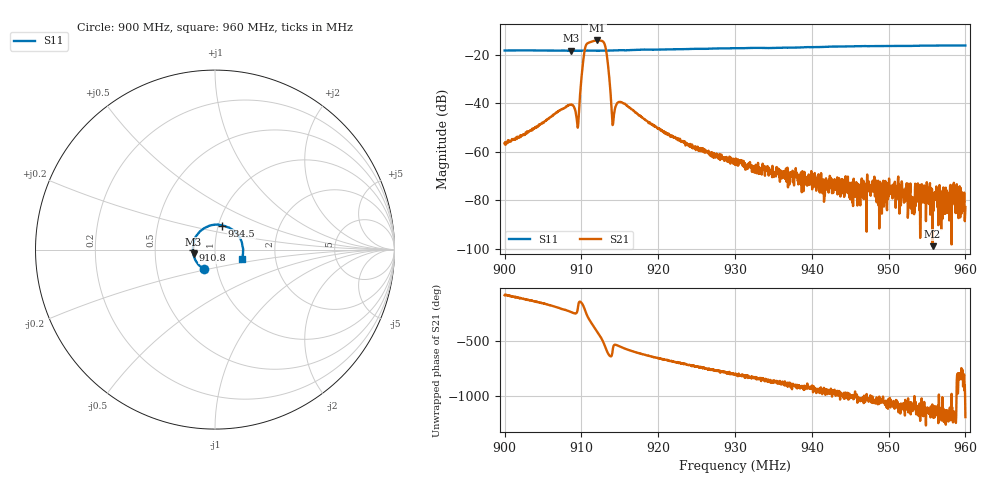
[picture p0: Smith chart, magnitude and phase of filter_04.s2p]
!Agilent Technologies,E5071C,MY46214392,A.11.36
!Date: Thu Feb 26 21:17:01 2026
!Data & Calibration Information:
!Freq	S11:NONE(--)	S21:NONE(--)	S12:NONE(--)	S22:NONE(--)
!PortZ  Port1:50+j0  Port2:50+j0
!Above PortZ is port z conversion or system Z0 setting when saving the data.
!When reading, reference impedance value at option line is always used.
# Hz S dB R 50
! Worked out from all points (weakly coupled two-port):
!   1601 points, 900 MHz to 960 MHz, reference 50 ohm
!   highest |S21| = -13.97 dB at 912.1 MHz (marker M1); lowest = -98.9 dB at 955.7 MHz (marker M2)
!   lowest |S11| = -18.2 dB at 908.7 MHz (marker M3), VSWR 1.28, Z = 39.3 - j2.12 ohm
!   |S11| at or under -10 dB: start of sweep to end of sweep
!   S12 and S22 are empty: the file has one direction only
!   S11 on the Smith chart (normalised r, x): 900 MHz: 0.86, -0.19; 910.8 MHz: 0.78, -0.01; 934.5 MHz: 1.04, +0.28; 960 MHz: 1.34, -0.15
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9e8  -18.11 -120.4  -56.47 -89.8  -200.00 0.0  -200.00 0.0
9.086625e8  -18.24 -167.5  -40.48 117.5  -200.00 0.0  -200.00 0.0
9.094875e8  -18.21 -171.6  -49.12 132.8  -200.00 0.0  -200.00 0.0
9.097125e8  -18.20 -172.7  -41.69 -150.2  -200.00 0.0  -200.00 0.0
9.100125e8  -18.21 -174.4  -29.24 -158.2  -200.00 0.0  -200.00 0.0
9.103875e8  -18.22 -176.0  -18.72 151.2  -200.00 0.0  -200.00 0.0
9.108e8  -18.15 -178.4  -15.14 79.1  -200.00 0.0  -200.00 0.0
9.114375e8  -18.19 178.2  -14.32 6.0  -200.00 0.0  -200.00 0.0
9.12075e8  -18.20 175.2  -13.97 -58.9  -200.00 0.0  -200.00 0.0
9.13125e8  -18.17 170.3  -16.65 160.8  -200.00 0.0  -200.00 0.0
9.134625e8  -18.16 168.7  -24.05 106.8  -200.00 0.0  -200.00 0.0
9.139125e8  -18.12 166.5  -41.47 83.0  -200.00 0.0  -200.00 0.0
9.14175e8  -18.09 165.2  -46.70 173.6  -200.00 0.0  -200.00 0.0
9.15225e8  -18.00 159.8  -39.49 161.9  -200.00 0.0  -200.00 0.0
9.20025e8  -17.76 136.2  -50.57 61.8  -200.00 0.0  -200.00 0.0
9.3e8  -17.18 92.1  -65.39 -79.6  -200.00 0.0  -200.00 0.0
9.345375e8  -17.10 73.9  -68.44 -143.1  -200.00 0.0  -200.00 0.0
9.400125e8  -16.73 54.3  -71.73 158.9  -200.00 0.0  -200.00 0.0
9.45075e8  -16.36 36.1  -79.62 88.3  -200.00 0.0  -200.00 0.0
9.50025e8  -16.21 17.4  -76.80 31.7  -200.00 0.0  -200.00 0.0
9.55725e8  -16.11 -2.9  -98.94 -0.2  -200.00 0.0  -200.00 0.0
9.6e8  -16.06 -19.7  -82.78 -105.9  -200.00 0.0  -200.00 0.0
